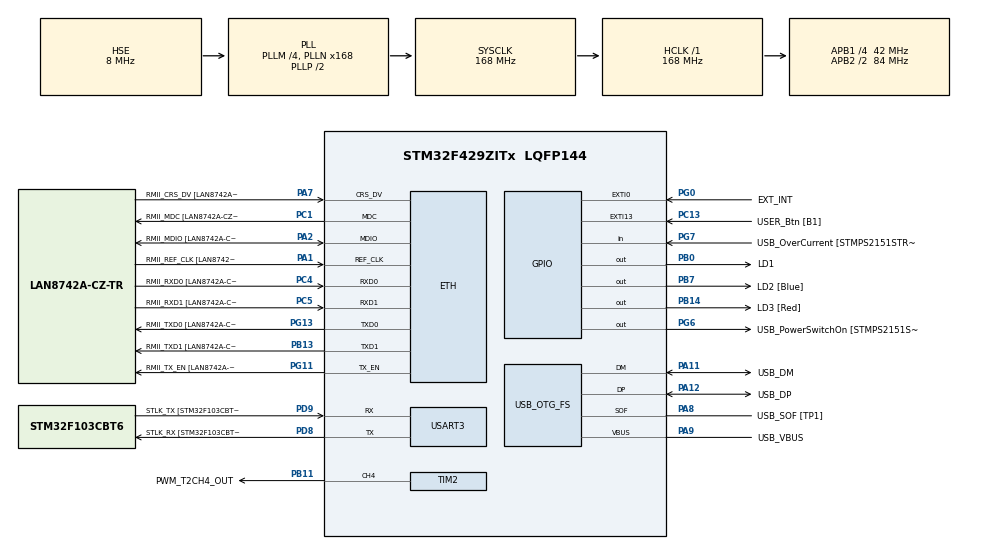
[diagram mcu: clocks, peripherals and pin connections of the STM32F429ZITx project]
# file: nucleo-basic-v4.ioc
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Dma.Request0=USART3_RX
Dma.Request1=USART3_TX
Dma.USART3_RX.0.Direction=DMA_PERIPH_TO_MEMORY
Dma.USART3_RX.0.FIFOMode=DMA_FIFOMODE_DISABLE
Dma.USART3_RX.0.Instance=DMA1_Stream1
Dma.USART3_RX.0.MemDataAlignment=DMA_MDATAALIGN_BYTE
Dma.USART3_RX.0.MemInc=DMA_MINC_ENABLE
Dma.USART3_RX.0.Mode=DMA_NORMAL
Dma.USART3_RX.0.PeriphDataAlignment=DMA_PDATAALIGN_BYTE
Dma.USART3_RX.0.PeriphInc=DMA_PINC_DISABLE
Dma.USART3_RX.0.Priority=DMA_PRIORITY_LOW
Dma.USART3_TX.1.Direction=DMA_MEMORY_TO_PERIPH
Dma.USART3_TX.1.FIFOMode=DMA_FIFOMODE_DISABLE
Dma.USART3_TX.1.Instance=DMA1_Stream3
Dma.USART3_TX.1.MemDataAlignment=DMA_MDATAALIGN_BYTE
Dma.USART3_TX.1.MemInc=DMA_MINC_ENABLE
Dma.USART3_TX.1.Mode=DMA_NORMAL
Dma.USART3_TX.1.PeriphDataAlignment=DMA_PDATAALIGN_BYTE
Dma.USART3_TX.1.PeriphInc=DMA_PINC_DISABLE
Dma.USART3_TX.1.Priority=DMA_PRIORITY_LOW
ETH.MACAddr=00\:80\:E1\:00\:66\:00
ETH.MediaInterface=ETH_MEDIA_INTERFACE_RMII
ETH.PHY_Name=LAN8742A_PHY_ADDRESS
ETH.PHY_Value=0
ETH.PhyAddress=0
FATFS._MAX_LFN=32
FATFS._STRF_ENCODE=0
FATFS._USE_LFN=2
FREERTOS.INCLUDE_uxTaskGetStackHighWaterMark=1
FREERTOS.INCLUDE_vTaskDelayUntil=1
FREERTOS.INCLUDE_xTaskGetCurrentTaskHandle=1
FREERTOS.Tasks01=defaultTask,0,1024,StartDefaultTask,Default,NULL,Dynamic,NULL,NULL
FREERTOS.configTOTAL_HEAP_SIZE=32768
LWIP.Version=v2.0.3_Cube
Mcu.Family=STM32F4
Mcu.Name=STM32F429ZITx
Mcu.Package=LQFP144
NVIC.DMA1_Stream1_IRQn=true\:5\:0\:false\:false\:true\:true\:false
NVIC.DMA1_Stream3_IRQn=true\:5\:0\:false\:false\:true\:true\:false
NVIC.ETH_IRQn=true\:5\:0\:false\:false\:true\:true\:false
NVIC.EXTI0_IRQn=true\:5\:0\:false\:false\:true\:true\:true
NVIC.EXTI15_10_IRQn=true\:5\:0\:false\:false\:true\:true\:true
NVIC.OTG_FS_IRQn=true\:5\:0\:false\:false\:true\:true\:false
NVIC.PriorityGroup=NVIC_PRIORITYGROUP_4
NVIC.TIM6_DAC_IRQn=true\:0\:0\:false\:false\:true\:false\:false
NVIC.TimeBase=TIM6_DAC_IRQn
NVIC.TimeBaseIP=TIM6
NVIC.USART3_IRQn=true\:5\:0\:false\:false\:true\:true\:true
PA1.GPIO_Label=RMII_REF_CLK [LAN8742A-CZ-TR_REFCLK0]
PA1.Mode=RMII
PA1.Signal=ETH_REF_CLK
PA10.GPIO_Label=USB_ID
PA10.Signal=USB_OTG_FS_ID
PA11.GPIO_Label=USB_DM
PA11.Mode=Host_Only
PA11.Signal=USB_OTG_FS_DM
PA12.GPIO_Label=USB_DP
PA12.Mode=Host_Only
PA12.Signal=USB_OTG_FS_DP
PA13.GPIO_Label=TMS
PA13.Mode=Serial_Wire
PA13.Signal=SYS_JTMS-SWDIO
PA14.GPIO_Label=TCK
PA14.Mode=Serial_Wire
PA14.Signal=SYS_JTCK-SWCLK
PA2.GPIO_Label=RMII_MDIO [LAN8742A-CZ-TR_MDIO]
PA2.Mode=RMII
PA2.Signal=ETH_MDIO
PA7.GPIO_Label=RMII_CRS_DV [LAN8742A-CZ-TR_CRS_DV]
PA7.Mode=RMII
PA7.Signal=ETH_CRS_DV
PA8.GPIO_Label=USB_SOF [TP1]
PA8.Mode=Activate_SOF_FS
PA8.Signal=USB_OTG_FS_SOF
PA9.GPIO_Label=USB_VBUS
PA9.Mode=Activate_VBUS
PA9.Signal=USB_OTG_FS_VBUS
PB0.GPIO_Label=LD1
PB0.Signal=GPIO_Output
PB11.GPIO_Label=PWM_T2CH4_OUT
PB11.Signal=S_TIM2_CH4
PB13.GPIO_Label=RMII_TXD1 [LAN8742A-CZ-TR_TXD1]
PB13.Mode=RMII
PB13.Signal=ETH_TXD1
PB14.GPIO_Label=LD3 [Red]
PB14.Signal=GPIO_Output
PB7.GPIO_Label=LD2 [Blue]
PB7.Signal=GPIO_Output
PC1.GPIO_Label=RMII_MDC [LAN8742A-CZ-TR_MDC]
PC1.Mode=RMII
PC1.Signal=ETH_MDC
PC13.GPIO_Label=USER_Btn [B1]
PC13.Signal=GPXTI13
PC14/OSC32_IN.Mode=LSE-External-Oscillator
PC14/OSC32_IN.Signal=RCC_OSC32_IN
PC15/OSC32_OUT.Mode=LSE-External-Oscillator
PC15/OSC32_OUT.Signal=RCC_OSC32_OUT
PC4.GPIO_Label=RMII_RXD0 [LAN8742A-CZ-TR_RXD0]
PC4.Mode=RMII
PC4.Signal=ETH_RXD0
PC5.GPIO_Label=RMII_RXD1 [LAN8742A-CZ-TR_RXD1]
PC5.Mode=RMII
PC5.Signal=ETH_RXD1
PD8.GPIO_Label=STLK_RX [STM32F103CBT6_PA3]
PD8.Mode=Asynchronous
PD8.Signal=USART3_TX
PD9.GPIO_Label=STLK_TX [STM32F103CBT6_PA2]
PD9.Mode=Asynchronous
PD9.Signal=USART3_RX
PG0.GPIO_Label=EXT_INT
PG0.GPIO_ModeDefaultEXTI=GPIO_MODE_IT_FALLING
PG0.GPIO_PuPd=GPIO_PULLUP
PG0.Signal=GPXTI0
PG11.GPIO_Label=RMII_TX_EN [LAN8742A-CZ-TR_TXEN]
PG11.Mode=RMII
PG11.Signal=ETH_TX_EN
PG13.GPIO_Label=RMII_TXD0 [LAN8742A-CZ-TR_TXD0]
PG13.Mode=RMII
PG13.Signal=ETH_TXD0
PG6.GPIO_Label=USB_PowerSwitchOn [STMPS2151STR_EN]
PG6.Signal=GPIO_Output
PG7.GPIO_Label=USB_OverCurrent [STMPS2151STR_FAULT]
PG7.Signal=GPIO_Input
PH0/OSC_IN.GPIO_Label=MCO [STM32F103CBT6_PA8]
PH0/OSC_IN.Mode=HSE-External-Clock-Source
PH0/OSC_IN.Signal=RCC_OSC_IN
PH1/OSC_OUT.Mode=HSE-External-Clock-Source
PH1/OSC_OUT.Signal=RCC_OSC_OUT
ProjectManager.HeapSize=0x200
ProjectManager.StackSize=0x400
ProjectManager.TargetToolchain=TrueSTUDIO
RCC.48MHZClocksFreq_Value=48000000
RCC.AHBFreq_Value=168000000
RCC.APB1CLKDivider=RCC_HCLK_DIV4
RCC.APB1Freq_Value=42000000
RCC.APB1TimFreq_Value=84000000
RCC.APB2CLKDivider=RCC_HCLK_DIV2
RCC.APB2Freq_Value=84000000
RCC.APB2TimCLKDivider=2
RCC.APB2TimFreq_Value=168000000
RCC.CortexFreq_Value=168000000
RCC.HCLKFreq_Value=168000000
RCC.HSE_VALUE=8000000
RCC.HSI_VALUE=16000000
RCC.PLLM=4
RCC.PLLMUL=RCC_PLL_MUL9
RCC.PLLN=168
RCC.PLLQ=7
RCC.PRESCALERUSB=RCC_USBCLKSOURCE_PLL_DIV1_5
RCC.SYSCLKFreq_VALUE=168000000
RCC.SYSCLKSource=RCC_SYSCLKSOURCE_PLLCLK
RCC.SYSCLKSourceVirtual=RCC_SYSCLKSOURCE_PLLCLK
RCC.USBFreq_Value=48000000
RCC.VCOOutputFreq_Value=336000000
SH.S_TIM2_CH4.0=TIM2_CH4,PWM Generation4 CH4
TIM2.Channel-PWM\ Generation4\ CH4=TIM_CHANNEL_4
TIM2.ClockDivision=TIM_CLOCKDIVISION_DIV4
TIM2.Period=16000
TIM2.Prescaler=42000
TIM2.Pulse-PWM\ Generation4\ CH4=3000
USART3.VirtualMode=VM_ASYNC
USB_HOST.BSP.number=1
USB_HOST.USBH_DEBUG_LEVEL-MSC_FS=3
USB_HOST.USBH_HandleTypeDef-MSC_FS=hUsbHostFS
USB_HOST.VirtualModeFS=Msc
USB_HOST0.BSP.STBoard=false
USB_HOST0.BSP.api=Unknown
USB_HOST0.BSP.i2caddr=0
USB_HOST0.BSP.instance=PG6
USB_HOST0.BSP.ip=GPIO
USB_HOST0.BSP.mode=Output
USB_HOST0.BSP.name=Drive_VBUS_FS
USB_HOST0.BSP.solution=PG6
USB_OTG_FS.VirtualMode=Host_Only
USB_OTG_FS.phy_itface=HCD_PHY_EMBEDDED
VP_FATFS_VS_USB.Mode=USB
VP_FREERTOS_VS_ENABLE.Mode=Enabled
VP_LWIP_VS_Enabled.Mode=Enabled
VP_SYS_VS_tim6.Mode=TIM6
VP_USB_HOST_VS_USB_HOST_MSC_FS.Mode=MSC_FS
board=NUCLEO-F429ZI

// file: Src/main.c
/**
  ******************************************************************************
  * @file           : main.c
  * @brief          : Main program body
  ******************************************************************************
  * This notice applies to any and all portions of this file
  * that are not between comment pairs USER CODE BEGIN and
  * USER CODE END. Other portions of this file, whether
  * inserted by the user or by software development tools
  * are owned by their respective copyright owners.
  *
  * Copyright (c) 2020 STMicroelectronics International N.V.
  * All rights reserved.
  *
  * Redistribution and use in source and binary forms, with or without
  * modification, are permitted, provided that the following conditions are met:
  *
  * 1. Redistribution of source code must retain the above copyright notice,
  *    this list of conditions and the following disclaimer.
  * 2. Redistributions in binary form must reproduce the above copyright notice,
  *    this list of conditions and the following disclaimer in the documentation
  *    and/or other materials provided with the distribution.
  * 3. Neither the name of STMicroelectronics nor the names of other
  *    contributors to this software may be used to endorse or promote products
  *    derived from this software without specific written permission.
  * 4. This software, including modifications and/or derivative works of this
  *    software, must execute solely and exclusively on microcontroller or
  *    microprocessor devices manufactured by or for STMicroelectronics.
  * 5. Redistribution and use of this software other than as permitted under
  *    this license is void and will automatically terminate your rights under
  *    this license.
  *
  * THIS SOFTWARE IS PROVIDED BY STMICROELECTRONICS AND CONTRIBUTORS "AS IS"
  * AND ANY EXPRESS, IMPLIED OR STATUTORY WARRANTIES, INCLUDING, BUT NOT
  * LIMITED TO, THE IMPLIED WARRANTIES OF MERCHANTABILITY, FITNESS FOR A
  * PARTICULAR PURPOSE AND NON-INFRINGEMENT OF THIRD PARTY INTELLECTUAL PROPERTY
  * RIGHTS ARE DISCLAIMED TO THE FULLEST EXTENT PERMITTED BY LAW. IN NO EVENT
  * SHALL STMICROELECTRONICS OR CONTRIBUTORS BE LIABLE FOR ANY DIRECT, INDIRECT,
  * INCIDENTAL, SPECIAL, EXEMPLARY, OR CONSEQUENTIAL DAMAGES (INCLUDING, BUT NOT
  * LIMITED TO, PROCUREMENT OF SUBSTITUTE GOODS OR SERVICES; LOSS OF USE, DATA,
  * OR PROFITS; OR BUSINESS INTERRUPTION) HOWEVER CAUSED AND ON ANY THEORY OF
  * LIABILITY, WHETHER IN CONTRACT, STRICT LIABILITY, OR TORT (INCLUDING
  * NEGLIGENCE OR OTHERWISE) ARISING IN ANY WAY OUT OF THE USE OF THIS SOFTWARE,
  * EVEN IF ADVISED OF THE POSSIBILITY OF SUCH DAMAGE.
  *
  ******************************************************************************
  */
#include "main.h"
#include "stm32f4xx_hal.h"
#include "cmsis_os.h"
#include "fatfs.h"
#include "lwip.h"
#include "usb_host.h"

/* USER CODE BEGIN Includes */
#include "dbgu.h"
#include "term_io.h"
#include "ansi.h"

#include "usbh_platform.h"

#include "FreeRTOS.h"
#include "task.h"
#include "queue.h"

/* USER CODE END Includes */

TIM_HandleTypeDef htim2;

UART_HandleTypeDef huart3;
DMA_HandleTypeDef hdma_usart3_rx;
DMA_HandleTypeDef hdma_usart3_tx;

osThreadId defaultTaskHandle;

/* USER CODE BEGIN PV */
/* Private variables ---------------------------------------------------------*/

/* USER CODE END PV */

void SystemClock_Config(void);
static void MX_GPIO_Init(void);
static void MX_DMA_Init(void);
static void MX_USART3_UART_Init(void);
static void MX_TIM2_Init(void);
void StartDefaultTask(void const * argument);
void HAL_TIM_MspPostInit(TIM_HandleTypeDef *htim);

/* USER CODE BEGIN PFP */
/* Private function prototypes -----------------------------------------------*/

/* USER CODE END PFP */

/* USER CODE BEGIN 0 */
#define FREERTOS_LAB 1

extern ApplicationTypeDef Appli_state;
/* USER CODE END 0 */

int main(void)
{

  /* MCU Configuration----------------------------------------------------------*/

  /* Reset of all peripherals, Initializes the Flash interface and the Systick. */
  HAL_Init();

  /* Configure the system clock */
  SystemClock_Config();

  /* Initialize all configured peripherals */
  MX_GPIO_Init();
  MX_DMA_Init();
  MX_USART3_UART_Init();
  MX_TIM2_Init();
  /* USER CODE BEGIN 2 */
  debug_init(&huart3);
  xprintf(ANSI_BG_MAGENTA "\nNucleo-144 F429ZI nucleo-basic-v4 project" ANSI_BG_DEFAULT "\n");
  xprintf(ANSI_FG_YELLOW "Funkcja xprintf dziala." ANSI_FG_DEFAULT "\n");
  printf(ANSI_FG_GREEN "Funkcja printf tez dziala." ANSI_FG_DEFAULT "\n");

  /* USER CODE END 2 */

  /* Create the thread(s) */
  /* definition and creation of defaultTask */
  osThreadDef(defaultTask, StartDefaultTask, osPriorityNormal, 0, 1024);
  defaultTaskHandle = osThreadCreate(osThread(defaultTask), NULL);

  /* Start scheduler */
  osKernelStart();

  /* We should never get here as control is now taken by the scheduler */

  /* Infinite loop */
  while (1)
  {

  }

}

void SystemClock_Config(void)
{

  RCC_OscInitTypeDef RCC_OscInitStruct;
  RCC_ClkInitTypeDef RCC_ClkInitStruct;

    /**Configure the main internal regulator output voltage
    */
  __HAL_RCC_PWR_CLK_ENABLE();

  __HAL_PWR_VOLTAGESCALING_CONFIG(PWR_REGULATOR_VOLTAGE_SCALE1);

    /**Initializes the CPU, AHB and APB busses clocks
    */
  RCC_OscInitStruct.OscillatorType = RCC_OSCILLATORTYPE_HSE;
  RCC_OscInitStruct.HSEState = RCC_HSE_BYPASS;
  RCC_OscInitStruct.PLL.PLLState = RCC_PLL_ON;
  RCC_OscInitStruct.PLL.PLLSource = RCC_PLLSOURCE_HSE;
  RCC_OscInitStruct.PLL.PLLM = 4;
  RCC_OscInitStruct.PLL.PLLN = 168;
  RCC_OscInitStruct.PLL.PLLP = RCC_PLLP_DIV2;
  RCC_OscInitStruct.PLL.PLLQ = 7;
  if (HAL_RCC_OscConfig(&RCC_OscInitStruct) != HAL_OK)
  {
    _Error_Handler(__FILE__, __LINE__);
  }

    /**Initializes the CPU, AHB and APB busses clocks
    */
  RCC_ClkInitStruct.ClockType = RCC_CLOCKTYPE_HCLK|RCC_CLOCKTYPE_SYSCLK
                              |RCC_CLOCKTYPE_PCLK1|RCC_CLOCKTYPE_PCLK2;
  RCC_ClkInitStruct.SYSCLKSource = RCC_SYSCLKSOURCE_PLLCLK;
  RCC_ClkInitStruct.AHBCLKDivider = RCC_SYSCLK_DIV1;
  RCC_ClkInitStruct.APB1CLKDivider = RCC_HCLK_DIV4;
  RCC_ClkInitStruct.APB2CLKDivider = RCC_HCLK_DIV2;

  if (HAL_RCC_ClockConfig(&RCC_ClkInitStruct, FLASH_LATENCY_5) != HAL_OK)
  {
    _Error_Handler(__FILE__, __LINE__);
  }

    /**Configure the Systick interrupt time
    */
  HAL_SYSTICK_Config(HAL_RCC_GetHCLKFreq()/1000);

    /**Configure the Systick
    */
  HAL_SYSTICK_CLKSourceConfig(SYSTICK_CLKSOURCE_HCLK);

  /* SysTick_IRQn interrupt configuration */
  HAL_NVIC_SetPriority(SysTick_IRQn, 15, 0);
}

/* TIM2 init function */
static void MX_TIM2_Init(void)
{

  TIM_MasterConfigTypeDef sMasterConfig;
  TIM_OC_InitTypeDef sConfigOC;

  htim2.Instance = TIM2;
  htim2.Init.Prescaler = 42000;
  htim2.Init.CounterMode = TIM_COUNTERMODE_UP;
  htim2.Init.Period = 16000;
  htim2.Init.ClockDivision = TIM_CLOCKDIVISION_DIV4;
  if (HAL_TIM_PWM_Init(&htim2) != HAL_OK)
  {
    _Error_Handler(__FILE__, __LINE__);
  }

  sMasterConfig.MasterOutputTrigger = TIM_TRGO_RESET;
  sMasterConfig.MasterSlaveMode = TIM_MASTERSLAVEMODE_DISABLE;
  if (HAL_TIMEx_MasterConfigSynchronization(&htim2, &sMasterConfig) != HAL_OK)
  {
    _Error_Handler(__FILE__, __LINE__);
  }

  sConfigOC.OCMode = TIM_OCMODE_PWM1;
  sConfigOC.Pulse = 3000;
  sConfigOC.OCPolarity = TIM_OCPOLARITY_HIGH;
  sConfigOC.OCFastMode = TIM_OCFAST_DISABLE;
  if (HAL_TIM_PWM_ConfigChannel(&htim2, &sConfigOC, TIM_CHANNEL_4) != HAL_OK)
  {
    _Error_Handler(__FILE__, __LINE__);
  }

  HAL_TIM_MspPostInit(&htim2);

}

/* USART3 init function */
static void MX_USART3_UART_Init(void)
{

  huart3.Instance = USART3;
  huart3.Init.BaudRate = 115200;
  huart3.Init.WordLength = UART_WORDLENGTH_8B;
  huart3.Init.StopBits = UART_STOPBITS_1;
  huart3.Init.Parity = UART_PARITY_NONE;
  huart3.Init.Mode = UART_MODE_TX_RX;
  huart3.Init.HwFlowCtl = UART_HWCONTROL_NONE;
  huart3.Init.OverSampling = UART_OVERSAMPLING_16;
  if (HAL_UART_Init(&huart3) != HAL_OK)
  {
    _Error_Handler(__FILE__, __LINE__);
  }

}

static void MX_DMA_Init(void)
{
  /* DMA controller clock enable */
  __HAL_RCC_DMA1_CLK_ENABLE();

  /* DMA interrupt init */
  /* DMA1_Stream1_IRQn interrupt configuration */
  HAL_NVIC_SetPriority(DMA1_Stream1_IRQn, 5, 0);
  HAL_NVIC_EnableIRQ(DMA1_Stream1_IRQn);
  /* DMA1_Stream3_IRQn interrupt configuration */
  HAL_NVIC_SetPriority(DMA1_Stream3_IRQn, 5, 0);
  HAL_NVIC_EnableIRQ(DMA1_Stream3_IRQn);

}

/** Configure pins as
        * Analog
        * Input
        * Output
        * EVENT_OUT
        * EXTI
*/
static void MX_GPIO_Init(void)
{

  GPIO_InitTypeDef GPIO_InitStruct;

  /* GPIO Ports Clock Enable */
  __HAL_RCC_GPIOC_CLK_ENABLE();
  __HAL_RCC_GPIOH_CLK_ENABLE();
  __HAL_RCC_GPIOA_CLK_ENABLE();
  __HAL_RCC_GPIOB_CLK_ENABLE();
  __HAL_RCC_GPIOG_CLK_ENABLE();
  __HAL_RCC_GPIOD_CLK_ENABLE();

  /*Configure GPIO pin Output Level */
  HAL_GPIO_WritePin(GPIOB, LD1_Pin|LD3_Pin|LD2_Pin, GPIO_PIN_RESET);

  /*Configure GPIO pin Output Level */
  HAL_GPIO_WritePin(USB_PowerSwitchOn_GPIO_Port, USB_PowerSwitchOn_Pin, GPIO_PIN_RESET);

  /*Configure GPIO pin : USER_Btn_Pin */
  GPIO_InitStruct.Pin = USER_Btn_Pin;
  GPIO_InitStruct.Mode = GPIO_MODE_IT_RISING;
  GPIO_InitStruct.Pull = GPIO_NOPULL;
  HAL_GPIO_Init(USER_Btn_GPIO_Port, &GPIO_InitStruct);

  /*Configure GPIO pins : LD1_Pin LD3_Pin LD2_Pin */
  GPIO_InitStruct.Pin = LD1_Pin|LD3_Pin|LD2_Pin;
  GPIO_InitStruct.Mode = GPIO_MODE_OUTPUT_PP;
  GPIO_InitStruct.Pull = GPIO_NOPULL;
  GPIO_InitStruct.Speed = GPIO_SPEED_FREQ_LOW;
  HAL_GPIO_Init(GPIOB, &GPIO_InitStruct);

  /*Configure GPIO pin : EXT_INT_Pin */
  GPIO_InitStruct.Pin = EXT_INT_Pin;
  GPIO_InitStruct.Mode = GPIO_MODE_IT_FALLING;
  GPIO_InitStruct.Pull = GPIO_PULLUP;
  HAL_GPIO_Init(EXT_INT_GPIO_Port, &GPIO_InitStruct);

  /*Configure GPIO pin : USB_PowerSwitchOn_Pin */
  GPIO_InitStruct.Pin = USB_PowerSwitchOn_Pin;
  GPIO_InitStruct.Mode = GPIO_MODE_OUTPUT_PP;
  GPIO_InitStruct.Pull = GPIO_NOPULL;
  GPIO_InitStruct.Speed = GPIO_SPEED_FREQ_LOW;
  HAL_GPIO_Init(USB_PowerSwitchOn_GPIO_Port, &GPIO_InitStruct);

  /*Configure GPIO pin : USB_OverCurrent_Pin */
  GPIO_InitStruct.Pin = USB_OverCurrent_Pin;
  GPIO_InitStruct.Mode = GPIO_MODE_INPUT;
  GPIO_InitStruct.Pull = GPIO_NOPULL;
  HAL_GPIO_Init(USB_OverCurrent_GPIO_Port, &GPIO_InitStruct);

  /* EXTI interrupt init*/
  HAL_NVIC_SetPriority(EXTI0_IRQn, 5, 0);
  HAL_NVIC_EnableIRQ(EXTI0_IRQn);

  HAL_NVIC_SetPriority(EXTI15_10_IRQn, 5, 0);
  HAL_NVIC_EnableIRQ(EXTI15_10_IRQn);

}

/* USER CODE BEGIN 4 */

//a general-purpose statically allocated buffer for file system operations
#define FS_BUFFER_SIZE	(8*1024)
static uint8_t fs_buffer[FS_BUFFER_SIZE];

void waitForUsbMsd(void)
{
  xprintf("\nwaiting for USB device...\n");
	do{
		vTaskDelay(100);
		HAL_GPIO_TogglePin(LD2_GPIO_Port,LD2_Pin);
	}while(Appli_state != APPLICATION_READY);
	xprintf("USB device ready!\n");
	HAL_GPIO_WritePin(LD2_GPIO_Port,LD2_Pin,GPIO_PIN_RESET);
}

/* USER CODE END 4 */

/* StartDefaultTask function */
void StartDefaultTask(void const * argument)
{
  /* init code for USB_HOST */
  MX_USB_HOST_Init();

  /* init code for FATFS */
  MX_FATFS_Init();

  /* init code for LWIP */
  MX_LWIP_Init();

  /* USER CODE BEGIN 5 */
//  HAL_TIM_PWM_Start(&htim2,TIM_CHANNEL_4);
  MX_DriverVbusFS(0);   //wlacza zasilanie urzadzenia USB
  waitForUsbMsd();
   /*
   * ================================================
   * This is a nice place to create additional tasks,
   * queues, and semaphores for this lab exercise :)
   * ================================================
   */

	xprintf("entering StartDefaultTask main loop");
	xprintf("\n");

	while(1)
	{
	  HAL_GPIO_TogglePin(LD1_GPIO_Port,LD1_Pin);
	  vTaskDelay(100);
	    char key = inkey();
	    switch(key)
	    {
			case '!':
				xprintf("Format the USB drive? Send Y to confirm, any other to abort\n");
				do
				{
					key = inkey();
					if(key == 'Y')
					{
						xprintf("Format in progress...\n");
						FRESULT res = f_mkfs("0:",FM_FAT|FM_FAT32,512,fs_buffer,512);
						xprintf("f_mkfs result code: %d\n",res);
					}
					else if(key != 0)
					{
						xprintf("abort\n");
					}
				}while(!key);
				key = 0;
				break;
	        case '0':
	        	MX_DriverVbusFS(1);
	        	xprintf("Connected USB Device is OFF\n");
	        	break;
	        case '1':
	        	MX_DriverVbusFS(0);
	        	xprintf("Connected USB Device is ON\n");
	        	waitForUsbMsd();
	        	break;
	        case 'i':
	        	xprintf("Re-initializing FatFS...");
	        	MX_FATFS_Init();
	        	xprintf(" reinit done\n");
	        	break;
			case 'w':
			{
			  xprintf("write-append test\n");
			  FRESULT res;
			  UINT bw;
			  FIL file;
			  const int TEXTBUF_SIZE = 128;
			  char text[TEXTBUF_SIZE];
			  sprintf(text,"Linia tekstu. Czas systemowy to: %08d\n",(int)xTaskGetTickCount());
			  xprintf("f_open... ");
			  res = f_open(&file,"0:/test.txt",FA_WRITE|FA_OPEN_APPEND);
			  xprintf("res=%d\n",res);
			  if(res) break;
			  xprintf("f_write... ");
			  res = f_write(&file,text,strlen(text),&bw);
			  xprintf("res=%d, bw=%d\n",res,bw);
			  f_close(&file);
			  break;
			}

			case 'r':	//read and disp in text-only mode
			case 'h':	//read and disp in text-hex mode
			{
			  xprintf("read test!\n");
			  FIL file;
			  FRESULT res = f_open(&file,"0:/test.txt",FA_READ);
			  xprintf("f_open res=%d\n",res);
			  if(res) break;

			  const uint32_t BUF_SIZE = 64;
			  char buf[BUF_SIZE];
			  int dispSizeLimit = 4*1024;

			  UINT br;
			  xprintf(ANSI_FG_YELLOW "File contents:" ANSI_FG_DEFAULT "\n");
			  do
			  {
				xprintf("\n" ANSI_FG_YELLOW "f_read...");
				res = f_read(&file,buf,BUF_SIZE,&br);
				xprintf("f_read res=%d" ANSI_FG_DEFAULT "\n",res);

				if((res == FR_OK) && (br))
				{
				  if(key=='h')
				  {
					  debug_dump(buf,br);
				  }
				  else
				  {
					  debug_txt_limit(buf,br);
				  }
				  dispSizeLimit -= br;
				}
				else
				{
				  break;
				}
			  }while( (br>0) && (dispSizeLimit > 0) );
			  f_close(&file);
			  break;
			}
	    }
	}

  #if FREERTOS_LAB==0

	  /* Infinite loop */
	  for(;;)
	  {
		//LD3 zmieni stan (toggle)
		HAL_GPIO_TogglePin(LD3_GPIO_Port,LD3_Pin);

		//LD2 wlaczona, czekamy 250 tickow i wylaczamy
		HAL_GPIO_WritePin(LD2_GPIO_Port,LD2_Pin,GPIO_PIN_SET);
		osDelay(250);
		HAL_GPIO_WritePin(LD2_GPIO_Port,LD2_Pin,GPIO_PIN_RESET);
		osDelay(250);
	  }
  #endif

  /* USER CODE END 5 */
}

void HAL_TIM_PeriodElapsedCallback(TIM_HandleTypeDef *htim)
{
  if (htim->Instance == TIM6) {
    HAL_IncTick();
  }
}

void _Error_Handler(char *file, int line)
{
  while(1)
  {
  }
}

/************************ (C) COPYRIGHT STMicroelectronics *****END OF FILE****/
